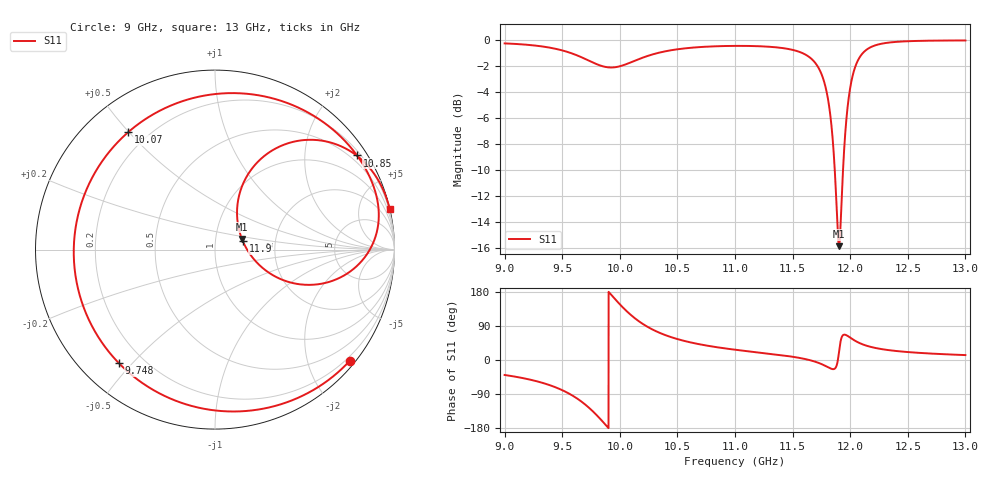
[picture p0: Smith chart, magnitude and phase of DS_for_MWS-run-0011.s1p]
! TOUCHSTONE file generated by CST DESIGN STUDIO
! Date and time: Tue Feb  4 16:47:23 2025
! Project name: C:\Work\MatlabApps\UnitCellOptimizationMatlab\CST\unitcell.cst
! Tree item: Tasks\Sweep1\SPara1\S-Parameters
! Header version: 2024
! Port assignment regex: !\s*Touchstone port\s*([0-9]+)\s*=\s*(CST MWS port|CST DES external port|CST DES block port)\s*(.+)\s* \(\"(.*)\"\)(\s*mode\s*([0-9]+))?.*
! Touchstone port assignment:
! Touchstone port 1 = CST DES external port 1 ("")
# GHz S MA R 50
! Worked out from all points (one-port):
!   4001 points, 9 GHz to 13 GHz, reference 50 ohm
!   lowest |S11| = -15.8 dB at 11.9 GHz (marker M1), VSWR 1.38, Z = 67.1 + j8.17 ohm
!   |S11| at or under -10 dB: 11.87 GHz to 11.94 GHz (71.45 MHz wide, 0.6 % of centre)
!   S11 on the Smith chart (normalised r, x): 9 GHz: 0.12, -2.78; 9.748 GHz: 0.11, -0.46; 10.07 GHz: 0.13, +0.50; 10.85 GHz: 0.31, +3.29; 11.9 GHz: 1.36, +0.13; 13 GHz: 0.03, +8.81
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9  0.9735 -39.5
9.281  0.9532 -56.3
9.5  0.9149 -79.6
9.637  0.8725 -103.2
9.748  0.8288 -130.3
9.879  0.7896 -171.9
9.938  0.7864 167.8
10  0.7947 147.0
10.068  0.8135 126.5
10.146  0.8401 106.6
10.234  0.8687 88.7
10.361  0.9008 69.7
10.5  0.9239 55.2
10.846  0.9493 33.6
11  0.9522 27.2
11.5  0.9192 8.6
11.675  0.8397 -2.5
11.782  0.6719 -15.2
11.847  0.4215 -24.1
11.901  0.1619 16.8
11.903  0.1613 21.6
11.917  0.1966 50.0
11.944  0.3573 66.6
12  0.6562 59.1
12.08  0.8576 44.9
12.171  0.9379 35.2
12.5  0.9924 21.0
13  0.9991 13.0
